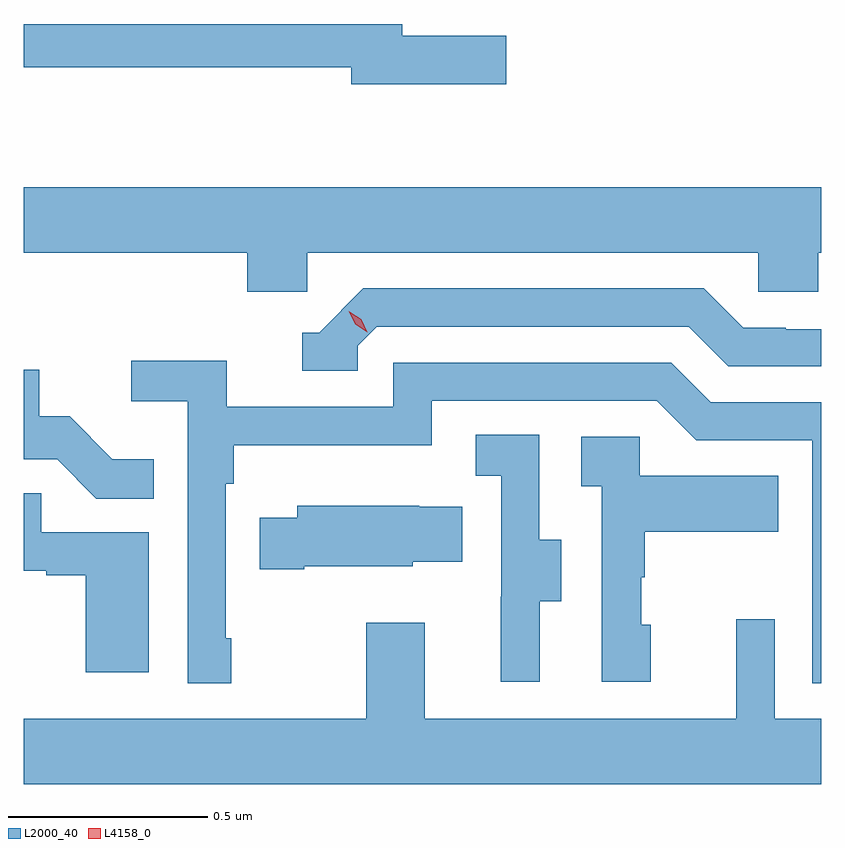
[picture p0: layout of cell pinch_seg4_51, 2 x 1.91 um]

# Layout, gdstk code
import gdstk
lib = gdstk.Library(unit=1e-6, precision=1e-09)
def P(c, l, *ps):  # polygons
    for p in ps: c.add(gdstk.Polygon(p, *l))
L2000_40 = (2000, 40)
L4158_0 = (4158, 0)

pinch_seg4_51 = lib.new_cell('pinch_seg4_51')
P(pinch_seg4_51, L2000_40, [(1120.555,816.013),(1120.294,816.013),(1120.294,816.042),(1119.345,816.042),(1119.345,815.934),(1120.166,815.934),(1120.166,815.891),(1120.555,815.891)],
  [(1120.056,815.468),(1121.187,815.468),(1121.187,815.37),(1121.337,815.37),(1121.337,815.468),(1121.345,815.468),(1121.345,815.632),(1119.345,815.632),(1119.345,815.468),(1119.905,815.468),(1119.905,815.37),(1120.056,815.37)],
  [(1120.182,815.235),(1120.23,815.283),(1121.013,815.283),(1121.112,815.184),(1121.345,815.184),(1121.345,815.277),(1121.256,815.277),(1121.256,815.28),(1121.149,815.28),(1121.05,815.379),(1120.197,815.379),(1120.086,815.268),(1120.043,815.268),(1120.043,815.172),(1120.182,815.172)],
  [(1119.865,814.501),(1119.852,814.501),(1119.852,814.889),(1119.872,814.889),(1119.872,814.985),(1120.368,814.985),(1120.368,815.097),(1120.932,815.097),(1121.031,814.998),(1121.322,814.998),(1121.322,814.389),(1121.345,814.389),(1121.345,815.094),(1121.068,815.094),(1120.969,815.193),(1120.272,815.193),(1120.272,815.082),(1119.854,815.082),(1119.854,815.198),(1119.615,815.198),(1119.615,815.096),(1119.756,815.096),(1119.756,814.389),(1119.865,814.389)],
  [(1119.671,814.951),(1119.567,814.951),(1119.46,815.058),(1119.384,815.058),(1119.384,815.175),(1119.345,815.175),(1119.345,814.95),(1119.429,814.95),(1119.527,814.852),(1119.671,814.852)],
  [(1120.639,814.594),(1120.693,814.594),(1120.693,814.749),(1120.638,814.749),(1120.638,815.012),(1120.479,815.012),(1120.479,814.909),(1120.542,814.909),(1120.542,814.605),(1120.541,814.605),(1120.541,814.392),(1120.639,814.392)],
  [(1120.918,814.536),(1120.893,814.536),(1120.893,814.655),(1120.903,814.655),(1120.903,814.769),(1121.237,814.769),(1121.237,814.909),(1120.89,814.909),(1120.89,815.007),(1120.743,815.007),(1120.743,814.883),(1120.794,814.883),(1120.794,814.392),(1120.918,814.392)],
  [(1119.658,814.767),(1119.389,814.767),(1119.389,814.865),(1119.345,814.865),(1119.345,814.671),(1119.401,814.671),(1119.401,814.659),(1119.5,814.659),(1119.5,814.416),(1119.658,814.416)],
  [(1120.048,814.682),(1120.32,814.682),(1120.32,814.694),(1120.445,814.694),(1120.445,814.831),(1120.337,814.831),(1120.337,814.834),(1120.031,814.834),(1120.031,814.804),(1119.937,814.804),(1119.937,814.675),(1120.048,814.675)],
  [(1121.345,814.3),(1121.229,814.3),(1121.229,814.549),(1121.132,814.549),(1121.132,814.3),(1120.351,814.3),(1120.351,814.54),(1120.204,814.54),(1120.204,814.3),(1119.345,814.3),(1119.345,814.136),(1121.345,814.136)])
P(pinch_seg4_51, L4158_0, [(1120.206,815.269),(1120.176,815.289),(1120.16,815.322),(1120.16,815.322),(1120.16,815.322),(1120.191,815.302),(1120.206,815.269),(1120.206,815.269)])

lib.write_gds('pinch_seg4_51.gds')
